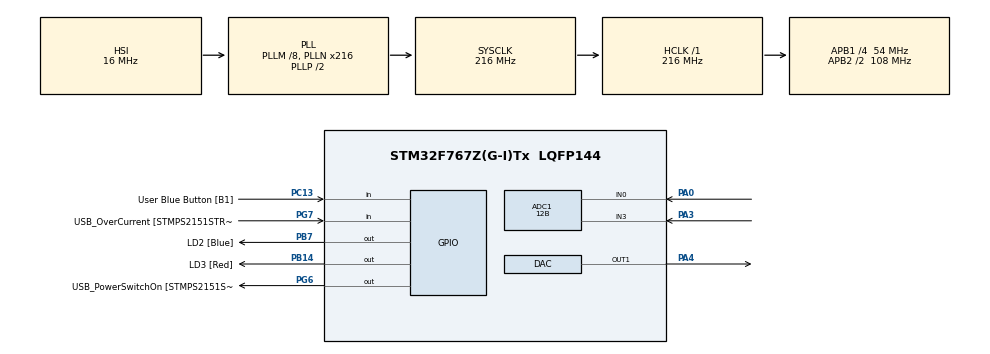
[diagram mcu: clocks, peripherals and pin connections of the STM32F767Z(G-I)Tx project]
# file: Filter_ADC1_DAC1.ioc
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ADC1.Channel-0\#ChannelRegularConversion=ADC_CHANNEL_3
ADC1.ClockPrescaler=ADC_CLOCK_SYNC_PCLK_DIV8
ADC1.ContinuousConvMode=ENABLE
ADC1.DMAContinuousRequests=DISABLE
ADC1.DataAlign=ADC_DATAALIGN_RIGHT
ADC1.DiscontinuousConvMode=DISABLE
ADC1.EOCSelection=ADC_EOC_SINGLE_CONV
ADC1.EnableAnalogWatchDog=false
ADC1.ExternalTrigConvEdge=ADC_EXTERNALTRIGCONVEDGE_NONE
ADC1.InjNumberOfConversion=0
ADC1.NbrOfConversion=1
ADC1.NbrOfConversionFlag=1
ADC1.Rank-0\#ChannelRegularConversion=1
ADC1.Resolution=ADC_RESOLUTION_12B
ADC1.SamplingTime-0\#ChannelRegularConversion=ADC_SAMPLETIME_56CYCLES
ADC1.ScanConvMode=DISABLE
ADC1.master=1
Mcu.Family=STM32F7
Mcu.Name=STM32F767Z(G-I)Tx
Mcu.Package=LQFP144
NVIC.ADC_IRQn=true\:0\:0\:false\:false\:true
NVIC.PriorityGroup=NVIC_PRIORITYGROUP_4
PA0/WKUP.Signal=ADCx_IN0
PA1.GPIO_Label=RMII_REF_CLK [LAN8742A-CZ-TR_REFCLK0]
PA1.Signal=ETH_REF_CLK
PA10.GPIO_Label=USB_ID
PA10.Signal=USB_OTG_FS_ID
PA11.GPIO_Label=USB_DM
PA11.Signal=USB_OTG_FS_DM
PA12.GPIO_Label=USB_DP
PA12.Signal=USB_OTG_FS_DP
PA13.GPIO_Label=TMS
PA13.Signal=SYS_JTMS-SWDIO
PA14.GPIO_Label=TCK
PA14.Signal=SYS_JTCK-SWCLK
PA2.GPIO_Label=RMII_MDIO [LAN8742A-CZ-TR_MDIO]
PA2.Signal=ETH_MDIO
PA3.Signal=ADCx_IN3
PA4.Signal=COMP_DAC1_group
PA7.GPIO_Label=RMII_CRS_DV [LAN8742A-CZ-TR_CRS_DV]
PA7.Signal=ETH_CRS_DV
PA8.GPIO_Label=USB_SOF [TP1]
PA8.Signal=USB_OTG_FS_SOF
PA9.GPIO_Label=USB_VBUS
PA9.Signal=USB_OTG_FS_VBUS
PB13.GPIO_Label=RMII_TXD1 [LAN8742A-CZ-TR_TXD1]
PB13.Signal=ETH_TXD1
PB14.GPIO_Label=LD3 [Red]
PB14.Signal=GPIO_Output
PB3.GPIO_Label=SW0
PB3.Signal=SYS_JTDO-SWO
PB7.GPIO_Label=LD2 [Blue]
PB7.Signal=GPIO_Output
PC1.GPIO_Label=RMII_MDC [LAN8742A-CZ-TR_MDC]
PC1.Signal=ETH_MDC
PC13.GPIO_Label=User Blue Button [B1]
PC13.Signal=GPIO_Input
PC14/OSC32_IN.Signal=RCC_OSC32_IN
PC15/OSC32_OUT.Signal=RCC_OSC32_OUT
PC4.GPIO_Label=RMII_RXD0 [LAN8742A-CZ-TR_RXD0]
PC4.Signal=ETH_RXD0
PC5.GPIO_Label=RMII_RXD1 [LAN8742A-CZ-TR_RXD1]
PC5.Signal=ETH_RXD1
PD8.GPIO_Label=STLK_RX [STM32F103CBT6_PA3]
PD8.Signal=USART3_TX
PD9.GPIO_Label=STLK_TX [STM32F103CBT6_PA2]
PD9.Signal=USART3_RX
PG11.GPIO_Label=RMII_TX_EN [LAN8742A-CZ-TR_TXEN]
PG11.Signal=ETH_TX_EN
PG13.GPIO_Label=RMII_TXD0 [LAN8742A-CZ-TR_TXD0]
PG13.Signal=ETH_TXD0
PG6.GPIO_Label=USB_PowerSwitchOn [STMPS2151STR_EN]
PG6.Signal=GPIO_Output
PG7.GPIO_Label=USB_OverCurrent [STMPS2151STR_FAULT]
PG7.Signal=GPIO_Input
PH0/OSC_IN.GPIO_Label=MCO [STM32F103CBT6_PA8]
PH0/OSC_IN.Signal=RCC_OSC_IN
PH1/OSC_OUT.Signal=RCC_OSC_OUT
ProjectManager.HeapSize=0x200
ProjectManager.StackSize=0x400
ProjectManager.TargetToolchain=TrueSTUDIO
RCC.48MHZClocksFreq_Value=24000000
RCC.AHBFreq_Value=216000000
RCC.APB1CLKDivider=RCC_HCLK_DIV4
RCC.APB1Freq_Value=54000000
RCC.APB1TimFreq_Value=108000000
RCC.APB2CLKDivider=RCC_HCLK_DIV2
RCC.APB2Freq_Value=108000000
RCC.APB2TimFreq_Value=216000000
RCC.CortexFreq_Value=216000000
RCC.HCLKFreq_Value=216000000
RCC.HSE_VALUE=16000000
RCC.HSI_VALUE=16000000
RCC.LSE_VALUE=32768
RCC.PLLM=8
RCC.PLLMUL=RCC_PLL_MUL9
RCC.PLLN=216
RCC.PRESCALERUSB=RCC_USBCLKSOURCE_PLL_DIV1_5
RCC.SYSCLKFreq_VALUE=216000000
RCC.SYSCLKSource=RCC_SYSCLKSOURCE_PLLCLK
RCC.SYSCLKSourceVirtual=RCC_SYSCLKSOURCE_PLLCLK
RCC.USBFreq_Value=216000000
RCC.VCOOutputFreq_Value=432000000
SH.ADCx_IN0.0=ADC1_IN0,IN0
SH.ADCx_IN3.0=ADC1_IN3,IN3
SH.COMP_DAC1_group.0=DAC_OUT1,DAC_OUT1
TIM6.Period=1000
VP_TIM6_VS_ClockSourceINT.Mode=Enable_Timer
board=NUCLEO-F767ZI

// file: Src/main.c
/**
  ******************************************************************************
  * File Name          : main.c
  * Description        : Main program body
  ******************************************************************************
  *
  * COPYRIGHT(c) 2016 STMicroelectronics
  *
  * Redistribution and use in source and binary forms, with or without modification,
  * are permitted provided that the following conditions are met:
  *   1. Redistributions of source code must retain the above copyright notice,
  *      this list of conditions and the following disclaimer.
  *   2. Redistributions in binary form must reproduce the above copyright notice,
  *      this list of conditions and the following disclaimer in the documentation
  *      and/or other materials provided with the distribution.
  *   3. Neither the name of STMicroelectronics nor the names of its contributors
  *      may be used to endorse or promote products derived from this software
  *      without specific prior written permission.
  *
  * THIS SOFTWARE IS PROVIDED BY THE COPYRIGHT HOLDERS AND CONTRIBUTORS "AS IS"
  * AND ANY EXPRESS OR IMPLIED WARRANTIES, INCLUDING, BUT NOT LIMITED TO, THE
  * IMPLIED WARRANTIES OF MERCHANTABILITY AND FITNESS FOR A PARTICULAR PURPOSE ARE
  * DISCLAIMED. IN NO EVENT SHALL THE COPYRIGHT HOLDER OR CONTRIBUTORS BE LIABLE
  * FOR ANY DIRECT, INDIRECT, INCIDENTAL, SPECIAL, EXEMPLARY, OR CONSEQUENTIAL
  * DAMAGES (INCLUDING, BUT NOT LIMITED TO, PROCUREMENT OF SUBSTITUTE GOODS OR
  * SERVICES; LOSS OF USE, DATA, OR PROFITS; OR BUSINESS INTERRUPTION) HOWEVER
  * CAUSED AND ON ANY THEORY OF LIABILITY, WHETHER IN CONTRACT, STRICT LIABILITY,
  * OR TORT (INCLUDING NEGLIGENCE OR OTHERWISE) ARISING IN ANY WAY OUT OF THE USE
  * OF THIS SOFTWARE, EVEN IF ADVISED OF THE POSSIBILITY OF SUCH DAMAGE.
  *
  ******************************************************************************
  */
#include "main.h"
#include "stm32f7xx_hal.h"
#include "filter_sample.h"

#include <stdlib.h> // For malloc/free

#define ARM_MATH_CM7	// Use ARM Cortex M7
#define __FPU_PRESENT 1		// Does this device have a floating point unit?
#include <arm_math.h>	// Include CMSIS header
#include <cmsis_gcc.h>

ADC_HandleTypeDef hadc1;

DAC_HandleTypeDef hdac;

TIM_HandleTypeDef htim6;

/* USER CODE BEGIN PV */
/* Private variables ---------------------------------------------------------*/

/* USER CODE END PV */

void SystemClock_Config(void);
void Error_Handler(void);
static void MX_GPIO_Init(void);
static void MX_ADC1_Init(void);
static void MX_DAC_Init(void);
static void MX_TIM6_Init(void);

/* USER CODE BEGIN PFP */
/* Private function prototypes -----------------------------------------------*/

/* USER CODE END PFP */

/* USER CODE BEGIN 0 */

filter_sampleType * filter;
float fin, fout;

/* USER CODE END 0 */

int main(void)
{

  /* MCU Configuration----------------------------------------------------------*/

  /* Reset of all peripherals, Initializes the Flash interface and the Systick. */
  HAL_Init();

  /* Configure the system clock */
  SystemClock_Config();

  /* Initialize all configured peripherals */
  MX_GPIO_Init();
  MX_ADC1_Init();
  MX_DAC_Init();
  MX_TIM6_Init();

  /* USER CODE BEGIN 2 */

  filter = filter_sample_create();

  HAL_DAC_Start(&hdac,DAC_CHANNEL_1);
  HAL_ADC_Start_IT(&hadc1);

  //Generate sine vector of frec points

  double * generate_sine(int poins)
  {
	  double *result = (double *)malloc( sizeof( double ) * poins );	// Allocate memory for the object
	  for(uint32_t i=0; i<(poins); i++)
	  {
		  result[i] = (sin(((3.14159*2*((double)i+1)) / (poins))) + 1);
	  }
	  return result;
  }

  /* USER CODE END 2 */

  /* Infinite loop */
  while (1)
  {

  /* USER CODE BEGIN 3 */

//	  for(uint32_t i=0; i<(frec); i++)
//	  {
//		  HAL_DAC_SetValue(&hdac,DAC_CHANNEL_1,DAC_ALIGN_12B_R,(uint32_t)2000*out[i]);
//		  HAL_GPIO_TogglePin(GPIOB, LD3_Pin);
//		  HAL_GPIO_Write(GPIOB, LD3_Pin, RESET);
//
//	  }

	for(uint32_t i=0; i < 100000; i++)
	{

	}

	HAL_GPIO_TogglePin(GPIOB, LD2_Pin);

  }
  /* USER CODE END 3 */

}

/** System Clock Configuration
*/
void SystemClock_Config(void)
{

  RCC_OscInitTypeDef RCC_OscInitStruct;
  RCC_ClkInitTypeDef RCC_ClkInitStruct;

    /**Configure the main internal regulator output voltage
    */
  __HAL_RCC_PWR_CLK_ENABLE();

  __HAL_PWR_VOLTAGESCALING_CONFIG(PWR_REGULATOR_VOLTAGE_SCALE1);

    /**Initializes the CPU, AHB and APB busses clocks
    */
  RCC_OscInitStruct.OscillatorType = RCC_OSCILLATORTYPE_HSI;
  RCC_OscInitStruct.HSIState = RCC_HSI_ON;
  RCC_OscInitStruct.HSICalibrationValue = 16;
  RCC_OscInitStruct.PLL.PLLState = RCC_PLL_ON;
  RCC_OscInitStruct.PLL.PLLSource = RCC_PLLSOURCE_HSI;
  RCC_OscInitStruct.PLL.PLLM = 8;
  RCC_OscInitStruct.PLL.PLLN = 216;
  RCC_OscInitStruct.PLL.PLLP = RCC_PLLP_DIV2;
  RCC_OscInitStruct.PLL.PLLQ = 2;
  if (HAL_RCC_OscConfig(&RCC_OscInitStruct) != HAL_OK)
  {
    Error_Handler();
  }

    /**Activate the Over-Drive mode
    */
  if (HAL_PWREx_EnableOverDrive() != HAL_OK)
  {
    Error_Handler();
  }

    /**Initializes the CPU, AHB and APB busses clocks
    */
  RCC_ClkInitStruct.ClockType = RCC_CLOCKTYPE_HCLK|RCC_CLOCKTYPE_SYSCLK
                              |RCC_CLOCKTYPE_PCLK1|RCC_CLOCKTYPE_PCLK2;
  RCC_ClkInitStruct.SYSCLKSource = RCC_SYSCLKSOURCE_PLLCLK;
  RCC_ClkInitStruct.AHBCLKDivider = RCC_SYSCLK_DIV1;
  RCC_ClkInitStruct.APB1CLKDivider = RCC_HCLK_DIV4;
  RCC_ClkInitStruct.APB2CLKDivider = RCC_HCLK_DIV2;

  if (HAL_RCC_ClockConfig(&RCC_ClkInitStruct, FLASH_LATENCY_7) != HAL_OK)
  {
    Error_Handler();
  }

    /**Configure the Systick interrupt time
    */
  HAL_SYSTICK_Config(HAL_RCC_GetHCLKFreq()/1000);

    /**Configure the Systick
    */
  HAL_SYSTICK_CLKSourceConfig(SYSTICK_CLKSOURCE_HCLK);

  /* SysTick_IRQn interrupt configuration */
  HAL_NVIC_SetPriority(SysTick_IRQn, 0, 0);
}

/* ADC1 init function */
static void MX_ADC1_Init(void)
{

  ADC_ChannelConfTypeDef sConfig;

    /**Configure the global features of the ADC (Clock, Resolution, Data Alignment and number of conversion)
    */
  hadc1.Instance = ADC1;
  hadc1.Init.ClockPrescaler = ADC_CLOCK_SYNC_PCLK_DIV8;
  hadc1.Init.Resolution = ADC_RESOLUTION_12B;
  hadc1.Init.ScanConvMode = DISABLE;
  hadc1.Init.ContinuousConvMode = ENABLE;
  hadc1.Init.DiscontinuousConvMode = DISABLE;
  hadc1.Init.ExternalTrigConvEdge = ADC_EXTERNALTRIGCONVEDGE_NONE;
  hadc1.Init.DataAlign = ADC_DATAALIGN_RIGHT;
  hadc1.Init.NbrOfConversion = 1;
  hadc1.Init.DMAContinuousRequests = DISABLE;
  hadc1.Init.EOCSelection = ADC_EOC_SINGLE_CONV;
  if (HAL_ADC_Init(&hadc1) != HAL_OK)
  {
    Error_Handler();
  }

    /**Configure for the selected ADC regular channel its corresponding rank in the sequencer and its sample time.
    */
  sConfig.Channel = ADC_CHANNEL_3;
  sConfig.Rank = 1;
  sConfig.SamplingTime = ADC_SAMPLETIME_56CYCLES;
  if (HAL_ADC_ConfigChannel(&hadc1, &sConfig) != HAL_OK)
  {
    Error_Handler();
  }

}

/* DAC init function */
static void MX_DAC_Init(void)
{

  DAC_ChannelConfTypeDef sConfig;

    /**DAC Initialization
    */
  hdac.Instance = DAC;
  if (HAL_DAC_Init(&hdac) != HAL_OK)
  {
    Error_Handler();
  }

    /**DAC channel OUT1 config
    */
  sConfig.DAC_Trigger = DAC_TRIGGER_NONE;
  sConfig.DAC_OutputBuffer = DAC_OUTPUTBUFFER_ENABLE;
  if (HAL_DAC_ConfigChannel(&hdac, &sConfig, DAC_CHANNEL_1) != HAL_OK)
  {
    Error_Handler();
  }

}

/* TIM6 init function */
static void MX_TIM6_Init(void)
{

  TIM_MasterConfigTypeDef sMasterConfig;

  htim6.Instance = TIM6;
  htim6.Init.Prescaler = 0;
  htim6.Init.CounterMode = TIM_COUNTERMODE_UP;
  htim6.Init.Period = 1000;
  if (HAL_TIM_Base_Init(&htim6) != HAL_OK)
  {
    Error_Handler();
  }

  sMasterConfig.MasterOutputTrigger = TIM_TRGO_RESET;
  sMasterConfig.MasterSlaveMode = TIM_MASTERSLAVEMODE_DISABLE;
  if (HAL_TIMEx_MasterConfigSynchronization(&htim6, &sMasterConfig) != HAL_OK)
  {
    Error_Handler();
  }

}

/** Configure pins as
        * Analog
        * Input
        * Output
        * EVENT_OUT
        * EXTI
     PC1   ------> ETH_MDC
     PA1   ------> ETH_REF_CLK
     PA2   ------> ETH_MDIO
     PA7   ------> ETH_CRS_DV
     PC4   ------> ETH_RXD0
     PC5   ------> ETH_RXD1
     PB13   ------> ETH_TXD1
     PD8   ------> USART3_TX
     PD9   ------> USART3_RX
     PA8   ------> USB_OTG_FS_SOF
     PA9   ------> USB_OTG_FS_VBUS
     PA10   ------> USB_OTG_FS_ID
     PA11   ------> USB_OTG_FS_DM
     PA12   ------> USB_OTG_FS_DP
     PG11   ------> ETH_TX_EN
     PG13   ------> ETH_TXD0
*/
static void MX_GPIO_Init(void)
{

  GPIO_InitTypeDef GPIO_InitStruct;

  /* GPIO Ports Clock Enable */
  __HAL_RCC_GPIOC_CLK_ENABLE();
  __HAL_RCC_GPIOH_CLK_ENABLE();
  __HAL_RCC_GPIOA_CLK_ENABLE();
  __HAL_RCC_GPIOB_CLK_ENABLE();
  __HAL_RCC_GPIOD_CLK_ENABLE();
  __HAL_RCC_GPIOG_CLK_ENABLE();

  /*Configure GPIO pin : User_Blue_Button_Pin */
  GPIO_InitStruct.Pin = User_Blue_Button_Pin;
  GPIO_InitStruct.Mode = GPIO_MODE_INPUT;
  GPIO_InitStruct.Pull = GPIO_NOPULL;
  HAL_GPIO_Init(User_Blue_Button_GPIO_Port, &GPIO_InitStruct);

  /*Configure GPIO pins : RMII_MDC_Pin RMII_RXD0_Pin RMII_RXD1_Pin */
  GPIO_InitStruct.Pin = RMII_MDC_Pin|RMII_RXD0_Pin|RMII_RXD1_Pin;
  GPIO_InitStruct.Mode = GPIO_MODE_AF_PP;
  GPIO_InitStruct.Pull = GPIO_NOPULL;
  GPIO_InitStruct.Speed = GPIO_SPEED_FREQ_VERY_HIGH;
  GPIO_InitStruct.Alternate = GPIO_AF11_ETH;
  HAL_GPIO_Init(GPIOC, &GPIO_InitStruct);

  /*Configure GPIO pins : RMII_REF_CLK_Pin RMII_MDIO_Pin RMII_CRS_DV_Pin */
  GPIO_InitStruct.Pin = RMII_REF_CLK_Pin|RMII_MDIO_Pin|RMII_CRS_DV_Pin;
  GPIO_InitStruct.Mode = GPIO_MODE_AF_PP;
  GPIO_InitStruct.Pull = GPIO_NOPULL;
  GPIO_InitStruct.Speed = GPIO_SPEED_FREQ_VERY_HIGH;
  GPIO_InitStruct.Alternate = GPIO_AF11_ETH;
  HAL_GPIO_Init(GPIOA, &GPIO_InitStruct);

  /*Configure GPIO pin : RMII_TXD1_Pin */
  GPIO_InitStruct.Pin = RMII_TXD1_Pin;
  GPIO_InitStruct.Mode = GPIO_MODE_AF_PP;
  GPIO_InitStruct.Pull = GPIO_NOPULL;
  GPIO_InitStruct.Speed = GPIO_SPEED_FREQ_VERY_HIGH;
  GPIO_InitStruct.Alternate = GPIO_AF11_ETH;
  HAL_GPIO_Init(RMII_TXD1_GPIO_Port, &GPIO_InitStruct);

  /*Configure GPIO pins : LD3_Pin LD2_Pin */
  GPIO_InitStruct.Pin = LD3_Pin|LD2_Pin;
  GPIO_InitStruct.Mode = GPIO_MODE_OUTPUT_PP;
  GPIO_InitStruct.Pull = GPIO_NOPULL;
  GPIO_InitStruct.Speed = GPIO_SPEED_FREQ_LOW;
  HAL_GPIO_Init(GPIOB, &GPIO_InitStruct);

  /*Configure GPIO pins : STLK_RX_Pin STLK_TX_Pin */
  GPIO_InitStruct.Pin = STLK_RX_Pin|STLK_TX_Pin;
  GPIO_InitStruct.Mode = GPIO_MODE_AF_PP;
  GPIO_InitStruct.Pull = GPIO_NOPULL;
  GPIO_InitStruct.Speed = GPIO_SPEED_FREQ_VERY_HIGH;
  GPIO_InitStruct.Alternate = GPIO_AF7_USART3;
  HAL_GPIO_Init(GPIOD, &GPIO_InitStruct);

  /*Configure GPIO pin : USB_PowerSwitchOn_Pin */
  GPIO_InitStruct.Pin = USB_PowerSwitchOn_Pin;
  GPIO_InitStruct.Mode = GPIO_MODE_OUTPUT_PP;
  GPIO_InitStruct.Pull = GPIO_NOPULL;
  GPIO_InitStruct.Speed = GPIO_SPEED_FREQ_LOW;
  HAL_GPIO_Init(USB_PowerSwitchOn_GPIO_Port, &GPIO_InitStruct);

  /*Configure GPIO pin : USB_OverCurrent_Pin */
  GPIO_InitStruct.Pin = USB_OverCurrent_Pin;
  GPIO_InitStruct.Mode = GPIO_MODE_INPUT;
  GPIO_InitStruct.Pull = GPIO_NOPULL;
  HAL_GPIO_Init(USB_OverCurrent_GPIO_Port, &GPIO_InitStruct);

  /*Configure GPIO pins : USB_SOF_Pin USB_ID_Pin USB_DM_Pin USB_DP_Pin */
  GPIO_InitStruct.Pin = USB_SOF_Pin|USB_ID_Pin|USB_DM_Pin|USB_DP_Pin;
  GPIO_InitStruct.Mode = GPIO_MODE_AF_PP;
  GPIO_InitStruct.Pull = GPIO_NOPULL;
  GPIO_InitStruct.Speed = GPIO_SPEED_FREQ_VERY_HIGH;
  GPIO_InitStruct.Alternate = GPIO_AF10_OTG_FS;
  HAL_GPIO_Init(GPIOA, &GPIO_InitStruct);

  /*Configure GPIO pin : USB_VBUS_Pin */
  GPIO_InitStruct.Pin = USB_VBUS_Pin;
  GPIO_InitStruct.Mode = GPIO_MODE_INPUT;
  GPIO_InitStruct.Pull = GPIO_NOPULL;
  HAL_GPIO_Init(USB_VBUS_GPIO_Port, &GPIO_InitStruct);

  /*Configure GPIO pins : RMII_TX_EN_Pin RMII_TXD0_Pin */
  GPIO_InitStruct.Pin = RMII_TX_EN_Pin|RMII_TXD0_Pin;
  GPIO_InitStruct.Mode = GPIO_MODE_AF_PP;
  GPIO_InitStruct.Pull = GPIO_NOPULL;
  GPIO_InitStruct.Speed = GPIO_SPEED_FREQ_VERY_HIGH;
  GPIO_InitStruct.Alternate = GPIO_AF11_ETH;
  HAL_GPIO_Init(GPIOG, &GPIO_InitStruct);

  /*Configure GPIO pin Output Level */
  HAL_GPIO_WritePin(GPIOB, LD3_Pin|LD2_Pin, GPIO_PIN_RESET);

  /*Configure GPIO pin Output Level */
  HAL_GPIO_WritePin(USB_PowerSwitchOn_GPIO_Port, USB_PowerSwitchOn_Pin, GPIO_PIN_RESET);

}

/* USER CODE BEGIN 4 */

void HAL_ADC_ConvCpltCallback(ADC_HandleTypeDef *hadc)
{

	HAL_GPIO_WritePin(GPIOB, LD3_Pin, SET);
	fin = (float) HAL_ADC_GetValue(hadc);
	filter_sample_filterBlock(filter, &fin, &fout, 1);
	//HAL_DAC_SetValue(&hdac,DAC_CHANNEL_1,DAC_ALIGN_12B_R,HAL_ADC_GetValue(hadc));
	HAL_DAC_SetValue(&hdac,DAC_CHANNEL_1,DAC_ALIGN_12B_R, (uint32_t)(fout + 2024));
	HAL_GPIO_WritePin(GPIOB, LD3_Pin, RESET);

}

/* USER CODE END 4 */

void Error_Handler(void)
{
  while(1)
  {
  }
}

/************************ (C) COPYRIGHT STMicroelectronics *****END OF FILE****/
